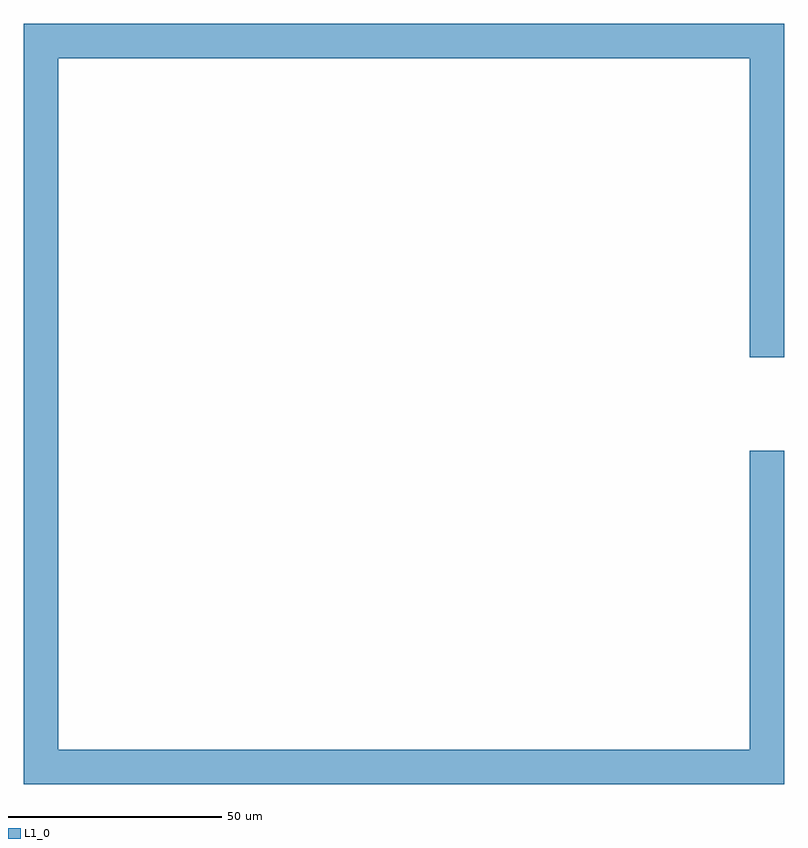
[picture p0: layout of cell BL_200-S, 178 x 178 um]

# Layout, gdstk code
import gdstk
lib = gdstk.Library(unit=1e-6, precision=1e-09)
def R(c, l, rs):  # rectangles x0, y0, x1, y1
    for r in rs: c.add(gdstk.rectangle(r[:2], r[2:], *l))
def P(c, l, *ps):  # polygons
    for p in ps: c.add(gdstk.Polygon(p, *l))
L1_0 = (1, 0)

bl_200_s = lib.new_cell('BL_200-S')
R(bl_200_s, L1_0, [(111,200,119,211), (111,211,119,222)])
P(bl_200_s, L1_0, [(281,222),(281,292),(289,300),(289,222)],
  [(119,292),(111,300),(289,300),(281,292)],
  [(111,222),(111,300),(119,292),(119,222)],
  [(111,122),(111,200),(119,200),(119,130)],
  [(111,122),(119,130),(281,130),(289,122)],
  [(289,122),(281,130),(281,200),(289,200)])

lib.write_gds('BL_200-S.gds')
